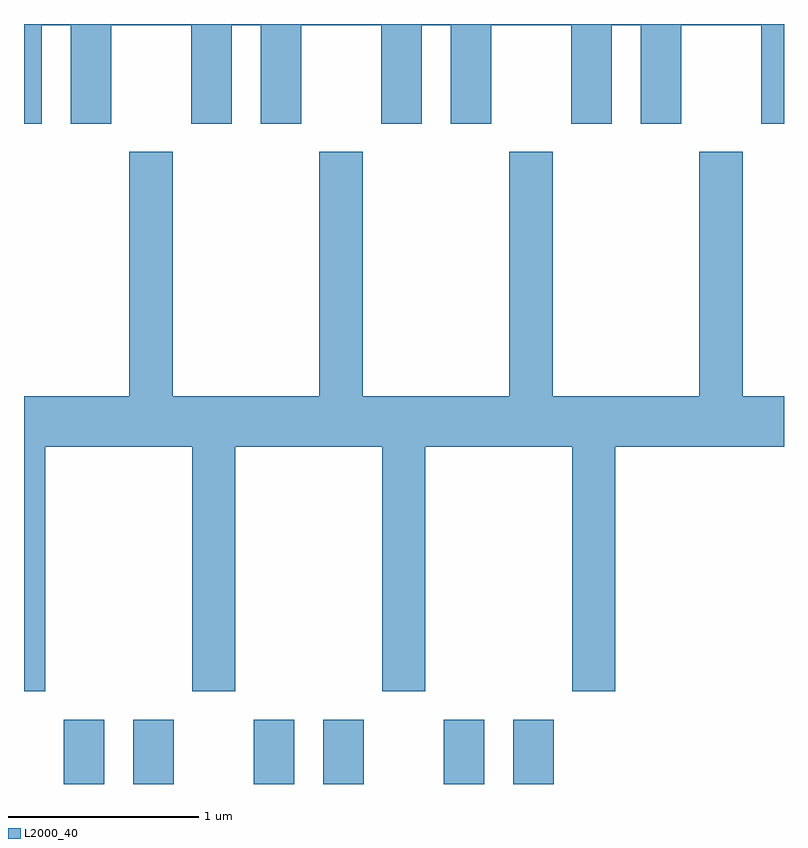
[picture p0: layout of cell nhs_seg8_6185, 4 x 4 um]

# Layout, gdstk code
import gdstk
lib = gdstk.Library(unit=1e-6, precision=1e-09)
def R(c, l, rs):  # rectangles x0, y0, x1, y1
    for r in rs: c.add(gdstk.rectangle(r[:2], r[2:], *l))
def P(c, l, *ps):  # polygons
    for p in ps: c.add(gdstk.Polygon(p, *l))
L2000_40 = (2000, 40)

nhs_seg8_6185 = lib.new_cell('nhs_seg8_6185')
R(nhs_seg8_6185, L2000_40, [(369.821,1912.342,370.034,1912.679), (370.186,1912.342,370.399,1912.679), (370.821,1912.342,371.034,1912.679), (371.186,1912.342,371.399,1912.679), (371.821,1912.342,372.034,1912.679), (372.186,1912.342,372.399,1912.679)])
P(nhs_seg8_6185, L2000_40, [(369.704,1916.336),(369.856,1916.336),(369.856,1915.816),(370.069,1915.816),(370.069,1916.336),(370.491,1916.336),(370.491,1915.816),(370.704,1915.816),(370.704,1916.336),(370.856,1916.336),(370.856,1915.816),(371.069,1915.816),(371.069,1916.336),(371.491,1916.336),(371.491,1915.816),(371.704,1915.816),(371.704,1916.336),(371.856,1916.336),(371.856,1915.816),(372.069,1915.816),(372.069,1916.336),(372.491,1916.336),(372.491,1915.816),(372.704,1915.816),(372.704,1916.336),(372.856,1916.336),(372.856,1915.816),(373.069,1915.816),(373.069,1916.336),(373.491,1916.336),(373.491,1915.816),(373.611,1915.816),(373.611,1916.342),(369.611,1916.342),(369.611,1915.816),(369.704,1915.816)],
  [(369.724,1914.116),(370.496,1914.116),(370.496,1912.831),(370.724,1912.831),(370.724,1914.116),(371.496,1914.116),(371.496,1912.831),(371.724,1912.831),(371.724,1914.116),(372.496,1914.116),(372.496,1912.831),(372.724,1912.831),(372.724,1914.116),(373.611,1914.116),(373.611,1914.384),(373.394,1914.384),(373.394,1915.669),(373.166,1915.669),(373.166,1914.384),(372.394,1914.384),(372.394,1915.669),(372.166,1915.669),(372.166,1914.384),(371.394,1914.384),(371.394,1915.669),(371.166,1915.669),(371.166,1914.384),(370.394,1914.384),(370.394,1915.669),(370.166,1915.669),(370.166,1914.384),(369.611,1914.384),(369.611,1912.831),(369.724,1912.831)])

lib.write_gds('nhs_seg8_6185.gds')
